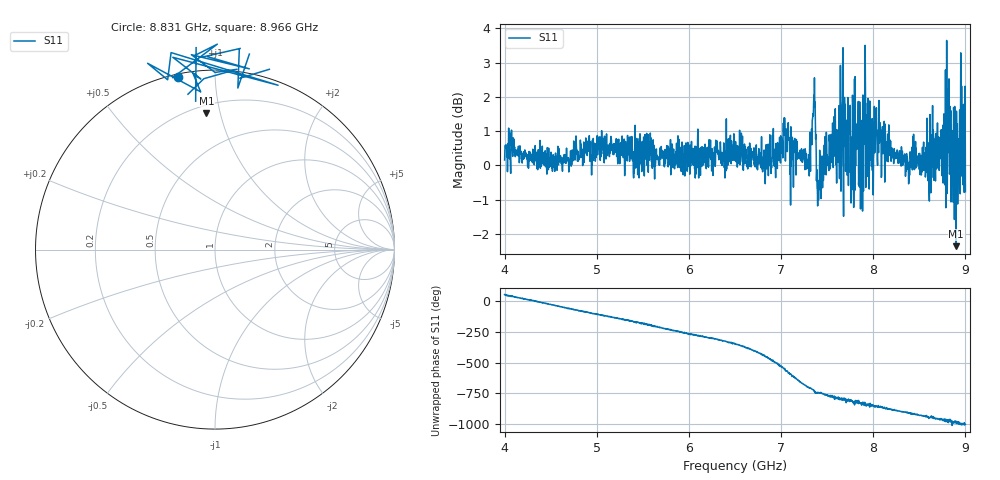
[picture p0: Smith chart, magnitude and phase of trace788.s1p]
! Created with skrf 1.8.0 (http://scikit-rf.org).
# Hz S RI R 50.0
!freq ReS11 ImS11
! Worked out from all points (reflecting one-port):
!   1601 points, 4 GHz to 9 GHz, reference 50 ohm
!   lowest |S11| = -2.4 dB at 8.9 GHz (marker M1), VSWR 7.43, Z = 12.5 + j45.4 ohm
!   phase of S11 starts at 52 deg and turns -1054 deg over the sweep
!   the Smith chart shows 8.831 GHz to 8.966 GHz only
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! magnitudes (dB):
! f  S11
! 4 GHz  0.2
! 4.625 GHz  -0.1
! 5.25 GHz  0.1
! 5.875 GHz  0.5
! 6.5 GHz  0.4
! 6.806 GHz  0.2
! 7.053 GHz  1.1
! 7.125 GHz  0.6
! 7.294 GHz  -0.1
! 7.353 GHz  1.8
! 7.409 GHz  -0.8
! 7.562 GHz  0.8
! 7.609 GHz  0.4
! 7.647 GHz  1.5
! 7.75 GHz  1.8
! 7.775 GHz  2.0
! 7.822 GHz  0.5
! 7.869 GHz  0.6
! 7.928 GHz  1.5
! 7.981 GHz  0.0
! 8.053 GHz  0.8
! 8.375 GHz  0.1
! 8.766 GHz  1.5
! 8.819 GHz  0.8
! 8.856 GHz  -0.2
! 8.9 GHz  -2.4
! 8.972 GHz  0.5
! 9 GHz  -0.8
